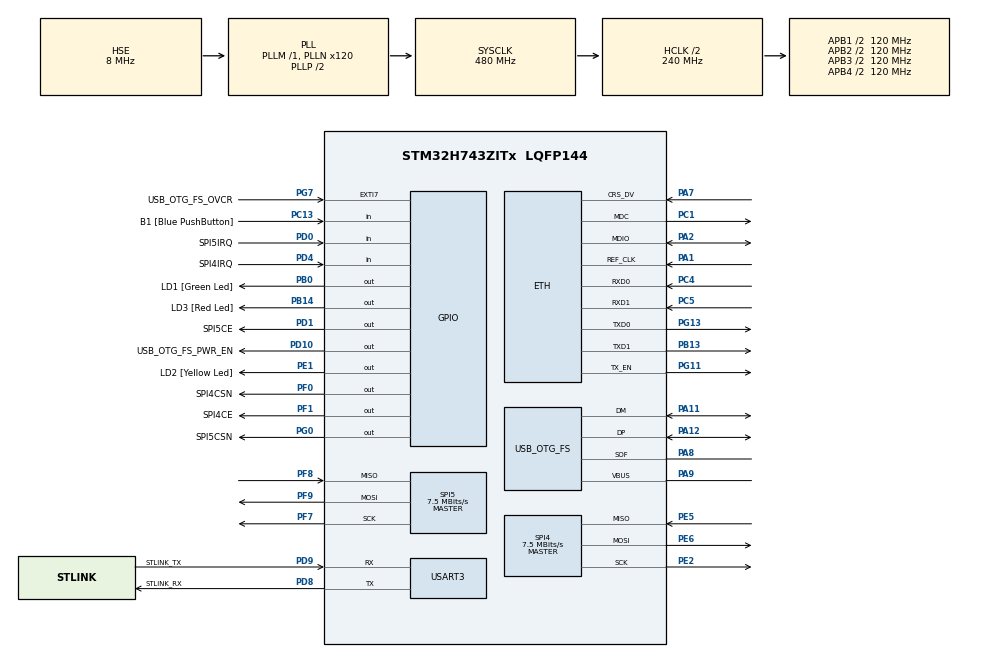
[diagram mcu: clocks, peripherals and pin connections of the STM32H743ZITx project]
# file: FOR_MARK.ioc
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Mcu.Family=STM32H7
NVIC.USART3_IRQn=true\:0\:0\:false\:false\:true\:true\:true
RCC.CortexFreq_Value=480000000
SPI4.VirtualType=VM_MASTER
RCC.HPRE=RCC_HCLK_DIV2
PH0-OSC_IN\ (PH0).Signal=RCC_OSC_IN
PF1.PinState=GPIO_PIN_RESET
PB14.GPIO_Label=LD3 [Red Led]
PC15-OSC32_OUT\ (OSC32_OUT).Mode=LSE-External-Clock-Source
PG0.Signal=GPIO_Output
RCC.PLLFRACN=0
SPI4.Direction=SPI_DIRECTION_2LINES
SPI5.DataSize=SPI_DATASIZE_8BIT
PD0.GPIO_Label=SPI5IRQ
PA11.Mode=Device_Only
PB0.GPIO_Label=LD1 [Green Led]
RCC.PLL2FRACN=0
PC5.Mode=RMII
PC13.GPIO_Label=B1 [Blue PushButton]
PB13.Signal=ETH_TXD1
PG13.Signal=ETH_TXD0
PD9.Mode=Asynchronous
PG11.Signal=ETH_TX_EN
RCC.SYSCLKSource=RCC_SYSCLKSOURCE_PLLCLK
ProjectManager.StackSize=0x400
USART3.VirtualMode-Asynchronous=VM_ASYNC
PA12.Signal=USB_OTG_FS_DP
SPI4.Mode=SPI_MODE_MASTER
PF7.Signal=SPI5_SCK
RCC.HCLKFreq_Value=240000000
PE2.Mode=Full_Duplex_Master
PD4.Signal=GPIO_Input
PD0.Signal=GPIO_Input
PD8.Signal=USART3_TX
PE5.Signal=SPI4_MISO
PE1.Signal=GPIO_Output
PH1-OSC_OUT\ (PH1).Mode=HSE-External-Oscillator
RCC.HSE_VALUE=8000000
PF1.GPIO_Label=SPI4CE
RCC.DIVM1=1
PD1.GPIO_Label=SPI5CE
PF9.Mode=Full_Duplex_Master
PE2.Signal=SPI4_SCK
PA8.Signal=USB_OTG_FS_SOF
PF8.Mode=Full_Duplex_Master
PG13.Mode=RMII
PF1.GPIO_Speed=GPIO_SPEED_FREQ_HIGH
SPI4.BaudRatePrescaler=SPI_BAUDRATEPRESCALER_16
RCC.APB3Freq_Value=120000000
Mcu.Package=LQFP144
SPI5.BaudRatePrescaler=SPI_BAUDRATEPRESCALER_16
RCC.PLL3FRACN=0
RCC.D1PPRE=RCC_APB3_DIV2
USB_OTG_FS.VirtualMode=Device_Only
PG0.GPIO_Label=SPI5CSN
PF8.Signal=SPI5_MISO
SPI5.CalculateBaudRate=7.5 MBits/s
PC14-OSC32_IN\ (OSC32_IN).Mode=LSE-External-Clock-Source
RCC.APB4Freq_Value=120000000
PF0.Signal=GPIO_Output
PC5.Signal=ETH_RXD1
PB13.Mode=RMII
PH0-OSC_IN\ (PH0).Mode=HSE-External-Oscillator
SPI5.VirtualType=VM_MASTER
PC4.Mode=RMII
RCC.DIVQ1=20
PA7.Mode=RMII
PG7.Signal=GPXTI7
PD9.GPIO_Label=STLINK_TX
SPI4.DataSize=SPI_DATASIZE_8BIT
PC13.Signal=GPIO_Input
PC4.Signal=ETH_RXD0
PD1.Signal=GPIO_Output
RCC.D2PPRE2=RCC_APB2_DIV2
RCC.D2PPRE1=RCC_APB1_DIV2
PD9.Signal=USART3_RX
SPI5.Mode=SPI_MODE_MASTER
PH1-OSC_OUT\ (PH1).Signal=RCC_OSC_OUT
PD8.GPIO_Label=STLINK_RX
PF0.GPIO_Speed=GPIO_SPEED_FREQ_HIGH
PD10.Signal=GPIO_Output
PF7.Mode=Full_Duplex_Master
PA9.Mode=Activate_VBUS
ProjectManager.TargetToolchain=MDK-ARM V5.27
PC15-OSC32_OUT\ (OSC32_OUT).Signal=RCC_OSC32_OUT
PA9.Signal=USB_OTG_FS_VBUS
RCC.DIVN1=120
RCC.USBFreq_Value=48000000
PD10.GPIO_Label=USB_OTG_FS_PWR_EN
PD8.Mode=Asynchronous
PA1.Signal=ETH_REF_CLK
PB14.Signal=GPIO_Output
board=NUCLEO-H743ZI2
PE1.GPIO_Label=LD2 [Yellow Led]
RCC.APB2Freq_Value=120000000
PA1.Mode=RMII
PE6.Mode=Full_Duplex_Master
PD4.GPIO_Label=SPI4IRQ
PG7.GPIO_Label=USB_OTG_FS_OVCR
PE5.Mode=Full_Duplex_Master
RCC.ADCFreq_Value=16125000
SPI4.CalculateBaudRate=7.5 MBits/s
PF1.Signal=GPIO_Output
PE6.Signal=SPI4_MOSI
Mcu.Name=STM32H743ZITx
PA2.Signal=ETH_MDIO
RCC.SYSCLKFreq_VALUE=480000000
ETH.MediaInterface=HAL_ETH_RMII_MODE
PA12.Mode=Device_Only
PC14-OSC32_IN\ (OSC32_IN).Signal=RCC_OSC32_IN
PG11.Mode=RMII
PA11.Signal=USB_OTG_FS_DM
ProjectManager.HeapSize=0x200
PF9.Signal=SPI5_MOSI
NVIC.PriorityGroup=NVIC_PRIORITYGROUP_4
PF0.GPIO_Label=SPI4CSN
PA2.Mode=RMII
RCC.D3PPRE=RCC_APB4_DIV2
PA8.Mode=Activate_SOF_FS
RCC.APB1Freq_Value=120000000
PB0.Signal=GPIO_Output
PC1.Signal=ETH_MDC
PC1.Mode=RMII
SPI5.Direction=SPI_DIRECTION_2LINES
PA7.Signal=ETH_CRS_DV

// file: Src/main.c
/* USER CODE BEGIN Header */
/**
    ******************************************************************************
    * @file           : main.c
    * @brief          : Main program body
    ******************************************************************************
    * @attention
    *
    * <h2><center>&copy; Copyright (c) 2020 STMicroelectronics.
    * All rights reserved.</center></h2>
    *
    * This software component is licensed by ST under BSD 3-Clause license,
    * the "License"; You may not use this file except in compliance with the
    * License. You may obtain a copy of the License at:
    *                        opensource.org/licenses/BSD-3-Clause
    *
    ******************************************************************************
    */
/* USER CODE END Header */

#include "main.h"
#include "eth.h"
#include "spi.h"
#include "usart.h"
#include "usb_otg.h"
#include "gpio.h"

/* USER CODE BEGIN Includes */
#include "NRF24L01.h"
/* USER CODE END Includes */

/* USER CODE BEGIN PTD */
uint8_t tx_buf[25];
uint8_t rx_buf[25];
uint8_t TX_frequency = 0x5a;    //24L01频率初始化为18
uint8_t RX_frequency = 0x5a;  //24L01频率初始化为18
unsigned int time_count = 0;
uint8_t Check = 0x00;
// uint8_t CheckBuf[1] = {0xff};
uint8_t test_flag = 0;
/* USER CODE END PTD */

/* USER CODE BEGIN PD */
void HAL_UART_RxCpltCallback(UART_HandleTypeDef *huart);
/* USER CODE END PD */

void SystemClock_Config(void);

int main(void)
{

    /* MCU Configuration--------------------------------------------------------*/

    /* Reset of all peripherals, Initializes the Flash interface and the Systick. */
    HAL_Init();

    /* Configure the system clock */
    SystemClock_Config();

    /* Initialize all configured peripherals */
    MX_GPIO_Init();
    MX_ETH_Init();
    MX_SPI4_Init();
    MX_SPI5_Init();
    MX_USART3_UART_Init();
    MX_USB_OTG_FS_PCD_Init();
    /* USER CODE BEGIN 2 */

    while (NRF24L01_TX_Check()){
        HAL_GPIO_TogglePin(LD3_GPIO_Port, LD3_Pin);
        HAL_Delay(2000);
    }

    TX_Mode();

    HAL_UART_Receive_IT(&huart3, tx_buf, 25);

    // while (NRF24L01_RX_Check())
    // {
    //     HAL_GPIO_TogglePin(LD2_GPIO_Port, LD2_Pin);
    //     HAL_Delay(2000);
    // }

    // RX_Mode();

//    HAL_UART_Receive_IT(&huart3, rx_buf, 25);   //触发中断
    // while (1)
    // {
    //     if (HAL_UART_Receive(&huart3, tx_buf, 25, 0xff) == HAL_OK)
    //     {
    //         if (NRF24L01_TxPacket(tx_buf) == TX_OK)
    //         {
    //             time_count ++;
    //             if (time_count > 32)
    //             {
    //                 time_count = 0;
    //                 HAL_GPIO_TogglePin(LD1_GPIO_Port, LD1_Pin);
    //                 HAL_GPIO_TogglePin(LD1_GPIO_Port, LD2_Pin);
    //                 HAL_GPIO_TogglePin(LD1_GPIO_Port, LD3_Pin);
    //             }
    //         }
    //     }
    // }

    /* USER CODE END 2 */

    /* Infinite loop */
    while (1)
    {

      /* USER CODE BEGIN 3 */

        // test_flag = NRF24L01_RxPacket(rx_buf);
        // if ( !test_flag )
        // {
        //     time_count ++;
        //     if (time_count > 32){
        //     time_count = 0;
        //     HAL_GPIO_TogglePin(LD1_GPIO_Port, LD1_Pin);
        //     HAL_GPIO_TogglePin(LD2_GPIO_Port, LD2_Pin);
        //     HAL_GPIO_TogglePin(LD3_GPIO_Port, LD3_Pin);
        //     }

        //     // 判断配置包
        //     Check = (rx_buf[0] + rx_buf[1] + rx_buf[2] + rx_buf[3]) & 0xff;
        //     if( rx_buf[0] == 0xf0 && rx_buf[4] == Check )
        //     {
        //         switch ( rx_buf[3] )
        //         {
        //             case 0x01:
        //                 TX_frequency = rx_buf[1];
        //                 break;
        //             case 0x02:
        //                 RX_frequency = rx_buf[2];
        //                 break;
        //             case 0x03:
        //                 TX_frequency = rx_buf[1];
        //                 RX_frequency = rx_buf[2];
        //                 break;
        //             default:
        //                 break;
        //         }
        //     }
        //     else
        //         HAL_UART_Transmit(&huart3, rx_buf, 25, 0xff);
        // }
            // if (HAL_UART_Receive(&huart3, tx_buf, 25, 0xff) == HAL_OK){
            //     if (NRF24L01_TxPacket(tx_buf) == TX_OK){
            //         time_count ++;
            //         if (time_count > 32){
            //             time_count = 0;
            //             HAL_GPIO_TogglePin(LD1_GPIO_Port, LD1_Pin);
            //             HAL_GPIO_TogglePin(LD1_GPIO_Port, LD2_Pin);
            //             HAL_GPIO_TogglePin(LD1_GPIO_Port, LD3_Pin);
            //         }
            //     },
            // }
    }
      /* USER CODE END 3 */
}

void SystemClock_Config(void)
{
    RCC_OscInitTypeDef RCC_OscInitStruct = {0};
    RCC_ClkInitTypeDef RCC_ClkInitStruct = {0};
    RCC_PeriphCLKInitTypeDef PeriphClkInitStruct = {0};

    /** Supply configuration update enable
    */
    HAL_PWREx_ConfigSupply(PWR_LDO_SUPPLY);
    /** Configure the main internal regulator output voltage
    */
    __HAL_PWR_VOLTAGESCALING_CONFIG(PWR_REGULATOR_VOLTAGE_SCALE0);

    while(!__HAL_PWR_GET_FLAG(PWR_FLAG_VOSRDY)) {}
    /** Initializes the CPU, AHB and APB busses clocks
    */
    RCC_OscInitStruct.OscillatorType = RCC_OSCILLATORTYPE_HSE;
    RCC_OscInitStruct.HSEState = RCC_HSE_ON;
    RCC_OscInitStruct.PLL.PLLState = RCC_PLL_ON;
    RCC_OscInitStruct.PLL.PLLSource = RCC_PLLSOURCE_HSE;
    RCC_OscInitStruct.PLL.PLLM = 1;
    RCC_OscInitStruct.PLL.PLLN = 120;
    RCC_OscInitStruct.PLL.PLLP = 2;
    RCC_OscInitStruct.PLL.PLLQ = 20;
    RCC_OscInitStruct.PLL.PLLR = 2;
    RCC_OscInitStruct.PLL.PLLRGE = RCC_PLL1VCIRANGE_3;
    RCC_OscInitStruct.PLL.PLLVCOSEL = RCC_PLL1VCOWIDE;
    RCC_OscInitStruct.PLL.PLLFRACN = 0;
    if (HAL_RCC_OscConfig(&RCC_OscInitStruct) != HAL_OK)
    {
      Error_Handler();
    }
    /** Initializes the CPU, AHB and APB busses clocks
    */
    RCC_ClkInitStruct.ClockType = RCC_CLOCKTYPE_HCLK|RCC_CLOCKTYPE_SYSCLK
                              |RCC_CLOCKTYPE_PCLK1|RCC_CLOCKTYPE_PCLK2
                              |RCC_CLOCKTYPE_D3PCLK1|RCC_CLOCKTYPE_D1PCLK1;
    RCC_ClkInitStruct.SYSCLKSource = RCC_SYSCLKSOURCE_PLLCLK;
    RCC_ClkInitStruct.SYSCLKDivider = RCC_SYSCLK_DIV1;
    RCC_ClkInitStruct.AHBCLKDivider = RCC_HCLK_DIV2;
    RCC_ClkInitStruct.APB3CLKDivider = RCC_APB3_DIV2;
    RCC_ClkInitStruct.APB1CLKDivider = RCC_APB1_DIV2;
    RCC_ClkInitStruct.APB2CLKDivider = RCC_APB2_DIV2;
    RCC_ClkInitStruct.APB4CLKDivider = RCC_APB4_DIV2;

    if (HAL_RCC_ClockConfig(&RCC_ClkInitStruct, FLASH_LATENCY_4) != HAL_OK)
    {
      Error_Handler();
    }
    PeriphClkInitStruct.PeriphClockSelection = RCC_PERIPHCLK_USART3|RCC_PERIPHCLK_SPI5
                              |RCC_PERIPHCLK_SPI4|RCC_PERIPHCLK_USB;
    PeriphClkInitStruct.Spi45ClockSelection = RCC_SPI45CLKSOURCE_D2PCLK1;
    PeriphClkInitStruct.Usart234578ClockSelection = RCC_USART234578CLKSOURCE_D2PCLK1;
    PeriphClkInitStruct.UsbClockSelection = RCC_USBCLKSOURCE_PLL;
    if (HAL_RCCEx_PeriphCLKConfig(&PeriphClkInitStruct) != HAL_OK)
    {
      Error_Handler();
    }
    /** Enable USB Voltage detector
    */
    HAL_PWREx_EnableUSBVoltageDetector();
}

/* USER CODE BEGIN 4 */
void HAL_UART_RxCpltCallback(UART_HandleTypeDef *huart)
{

    if(huart->Instance == USART3)
    {
        // HAL_GPIO_TogglePin(LD1_GPIO_Port, LD1_Pin);
        if (NRF24L01_TxPacket(tx_buf) == TX_OK){
            time_count ++;
            if (time_count > 32){
                time_count = 0;
                HAL_GPIO_TogglePin(LD1_GPIO_Port, LD1_Pin);
                HAL_GPIO_TogglePin(LD2_GPIO_Port, LD2_Pin);
                HAL_GPIO_TogglePin(LD3_GPIO_Port, LD3_Pin);
            }

            // 判断配置包
            Check = (tx_buf[0] + tx_buf[1] + tx_buf[2] + tx_buf[3] + tx_buf[4]) & 0xff;
            // test
            // CheckBuf[0] = Check;
            // HAL_UART_Transmit(&huart3, CheckBuf, 1, 0xff);
            // CheckBuf[0] = 0xff;
            if( tx_buf[0] == 0xf0 && tx_buf[5] == Check )
            {
                switch ( tx_buf[3] )
                {
                    case 0x01:
                        TX_frequency = tx_buf[1];
                        TX_Mode();  // Updata frequency
                        break;
                    case 0x02:
                        RX_frequency = tx_buf[2];
                        RX_Mode();
                        break;
                    case 0x03:
                        TX_frequency = tx_buf[1];
                        RX_frequency = tx_buf[2];
                        TX_Mode();
                        RX_Mode();
                        break;
                    default:
                        break;
                }
                Check = 0x00;   // Initial value
                // test
                // // CheckBuf[0] = 0x88;  // Check Success
                // CheckBuf[0] = TX_frequency;  // Check Freq
                // HAL_UART_Transmit(&huart3, CheckBuf, 1, 0xff);
            }
            else
            {

            }

        }
        HAL_UART_Receive_IT(&huart3, tx_buf, 25);
    }
}

/* USER CODE END 4 */

void Error_Handler(void)
{
}

/************************ (C) COPYRIGHT STMicroelectronics *****END OF FILE****/
